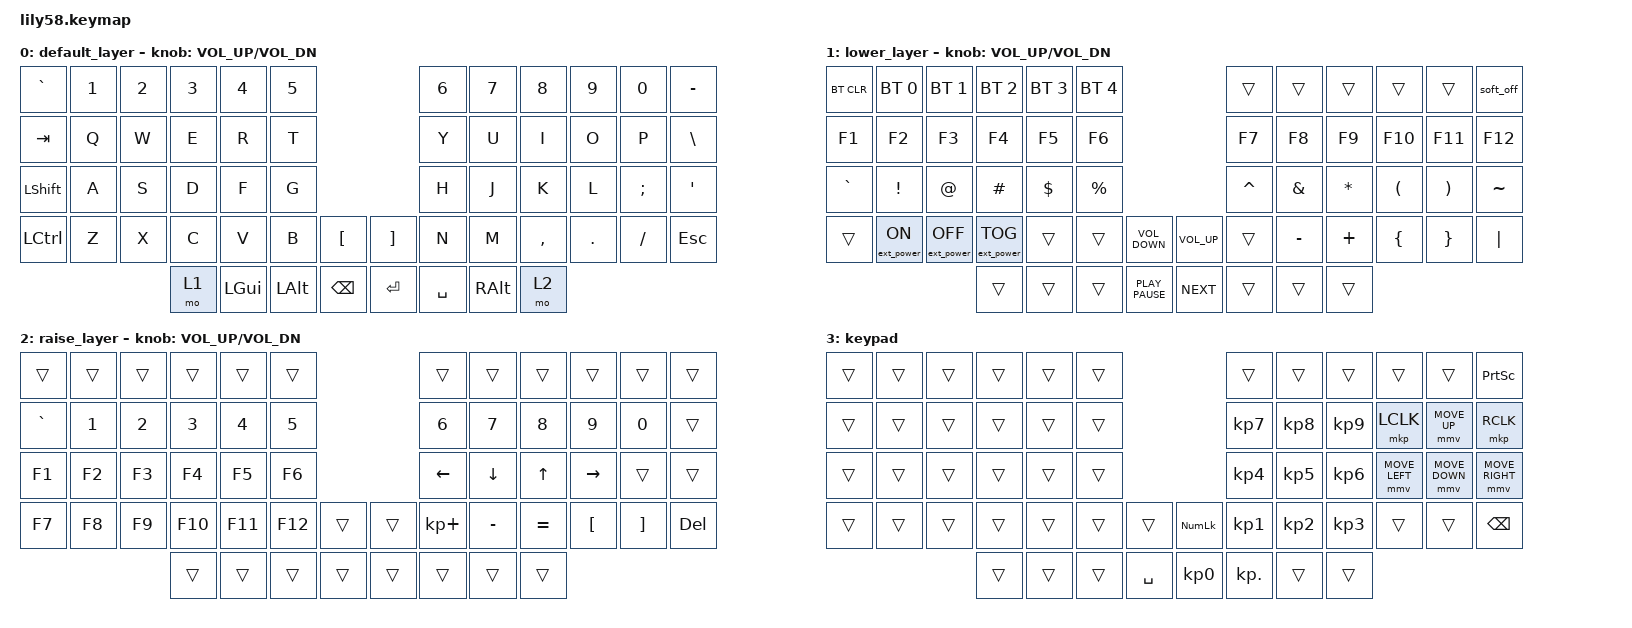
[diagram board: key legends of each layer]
/*
 * Copyright (c) 2020 The ZMK Contributors
 *
 * SPDX-License-Identifier: MIT
 */

#include <behaviors.dtsi>
#include <dt-bindings/zmk/bt.h>
#include <dt-bindings/zmk/ext_power.h>
#include <dt-bindings/zmk/keys.h>
#include <dt-bindings/zmk/mouse.h>

/ {
    combos {
        compatible = "zmk,combos";

        equals {
            bindings = <&kp EQUAL>;
            key-positions = <10 11>;
        };

        activate_keypad {
            bindings = <&tog 3>;
            key-positions = <50 57>;
        };
    };

    keymap {
        compatible = "zmk,keymap";

        default_layer {
            // ------------------------------------------------------------------------------------------------------------
            // |  ESC  |  1  |  2  |  3   |  4   |  5   |                   |  6   |  7    |  8    |  9   |   0   |   `   |
            // |  TAB  |  Q  |  W  |  E   |  R   |  T   |                   |  Y   |  U    |  I    |  O   |   P   |   -   |
            // |  CTRL |  A  |  S  |  D   |  F   |  G   |                   |  H   |  J    |  K    |  L   |   ;   |   '   |
            // | SHIFT |  Z  |  X  |  C   |  V   |  B   |   "["  |  |  "]"  |  N   |  M    |  ,    |  .   |   /   | SHIFT |
            //                     | ALT  | GUI  | LOWER|  SPACE |  | ENTER | RAISE| BSPC  | GUI   |

            bindings = <
&kp GRAVE       &kp N1  &kp N2  &kp N3  &kp N4    &kp N5                                &kp N6     &kp N7         &kp N8     &kp N9   &kp N0    &kp MINUS
&kp TAB         &kp Q   &kp W   &kp E   &kp R     &kp T                                 &kp Y      &kp U          &kp I      &kp O    &kp P     &kp BACKSLASH
&kp LEFT_SHIFT  &kp A   &kp S   &kp D   &kp F     &kp G                                 &kp H      &kp J          &kp K      &kp L    &kp SEMI  &kp SQT
&kp LCTRL       &kp Z   &kp X   &kp C   &kp V     &kp B     &kp LBKT         &kp RBKT   &kp N      &kp M          &kp COMMA  &kp DOT  &kp FSLH  &kp ESCAPE
                                &mo 1   &kp LGUI  &kp LALT  &kp BACKSPACE    &kp ENTER  &kp SPACE  &kp RIGHT_ALT  &mo 2
            >;

            sensor-bindings = <&inc_dec_kp C_VOL_UP C_VOL_DN>;
        };

        lower_layer {
            // ------------------------------------------------------------------------------------------------------------
            // | BTCLR | BT1 | BT2 |  BT3 |  BT4 |  BT5 |                   |      |       |       |      |       |       |
            // |  F1   |  F2 |  F3 |  F4  |  F5  |  F6  |                   |  F7  |  F8   |  F9   |  F10 |  F11  |  F12  |
            // |   `   |  !  |  @  |  #   |  $   |  %   |                   |  ^   |  &    |  *    |  (   |   )   |   ~   |
            // |       |     |     |      |      |      |        |  |       |      |  _    |  +    |  {   |   }   |  "|"  |
            //                     |      |      |      |        |  |       |      |       |       |

            bindings = <
&bt BT_CLR  &bt BT_SEL 0      &bt BT_SEL 1       &bt BT_SEL 2       &bt BT_SEL 3  &bt BT_SEL 4                                        &trans     &trans     &trans     &trans    &trans    &soft_off
&kp F1      &kp F2            &kp F3             &kp F4             &kp F5        &kp F6                                              &kp F7     &kp F8     &kp F9     &kp F10   &kp F11   &kp F12
&kp GRAVE   &kp EXCL          &kp AT             &kp HASH           &kp DOLLAR    &kp PRCNT                                           &kp CARET  &kp AMPS   &kp ASTRK  &kp LPAR  &kp RPAR  &kp TILDE
&trans      &ext_power EP_ON  &ext_power EP_OFF  &ext_power EP_TOG  &trans        &trans        &kp C_VOLUME_DOWN    &kp C_VOLUME_UP  &trans     &kp MINUS  &kp PLUS   &kp LBRC  &kp RBRC  &kp PIPE
                                                 &trans             &trans        &trans        &kp K_PLAY_PAUSE     &kp K_NEXT       &trans     &trans     &trans
            >;

            sensor-bindings = <&inc_dec_kp C_VOL_UP C_VOL_DN>;
        };

        raise_layer {
            // ------------------------------------------------------------------------------------------------------------
            // |       |     |     |      |      |      |                   |      |       |       |      |       |       |
            // |   `   |  1  |  2  |  3   |  4   |  5   |                   |  6   |   7   |   8   |  9   |   0   |       |
            // |   F1  |  F2 |  F3 |  F4  |  F5  |  F6  |                   |      |   <-  |   v   |  ^   |  ->   |       |
            // |   F7  |  F8 |  F9 |  F10 |  F11 |  F12 |        |  |       |  +   |   -   |   =   |  [   |   ]   |   \   |
            //                     |      |      |      |        |  |       |      |       |       |

            bindings = <
&trans     &trans  &trans  &trans   &trans   &trans                     &trans          &trans     &trans     &trans     &trans    &trans
&kp GRAVE  &kp N1  &kp N2  &kp N3   &kp N4   &kp N5                     &kp N6          &kp N7     &kp N8     &kp N9     &kp N0    &trans
&kp F1     &kp F2  &kp F3  &kp F4   &kp F5   &kp F6                     &kp LEFT_ARROW  &kp DOWN   &kp UP     &kp RIGHT  &trans    &trans
&kp F7     &kp F8  &kp F9  &kp F10  &kp F11  &kp F12  &trans    &trans  &kp KP_PLUS     &kp MINUS  &kp EQUAL  &kp LBKT   &kp RBKT  &kp DELETE
                           &trans   &trans   &trans   &trans    &trans  &trans          &trans     &trans
            >;

            sensor-bindings = <&inc_dec_kp C_VOL_UP C_VOL_DN>;
        };

        keypad {
            bindings = <
&trans  &trans  &trans  &trans  &trans  &trans                                &trans           &trans           &trans           &trans          &trans          &kp PRINTSCREEN
&trans  &trans  &trans  &trans  &trans  &trans                                &kp KP_NUMBER_7  &kp KP_NUMBER_8  &kp KP_NUMBER_9  &mkp LCLK       &mmv MOVE_UP    &mkp RCLK
&trans  &trans  &trans  &trans  &trans  &trans                                &kp KP_NUMBER_4  &kp KP_NUMBER_5  &kp KP_NUMBER_6  &mmv MOVE_LEFT  &mmv MOVE_DOWN  &mmv MOVE_RIGHT
&trans  &trans  &trans  &trans  &trans  &trans  &trans       &kp KP_NUMLOCK   &kp KP_NUMBER_1  &kp KP_NUMBER_2  &kp KP_NUMBER_3  &trans          &trans          &kp BACKSPACE
                        &trans  &trans  &trans  &kp SPACE    &kp KP_NUMBER_0  &kp KP_DOT       &trans           &trans
            >;
        };
    };
};
